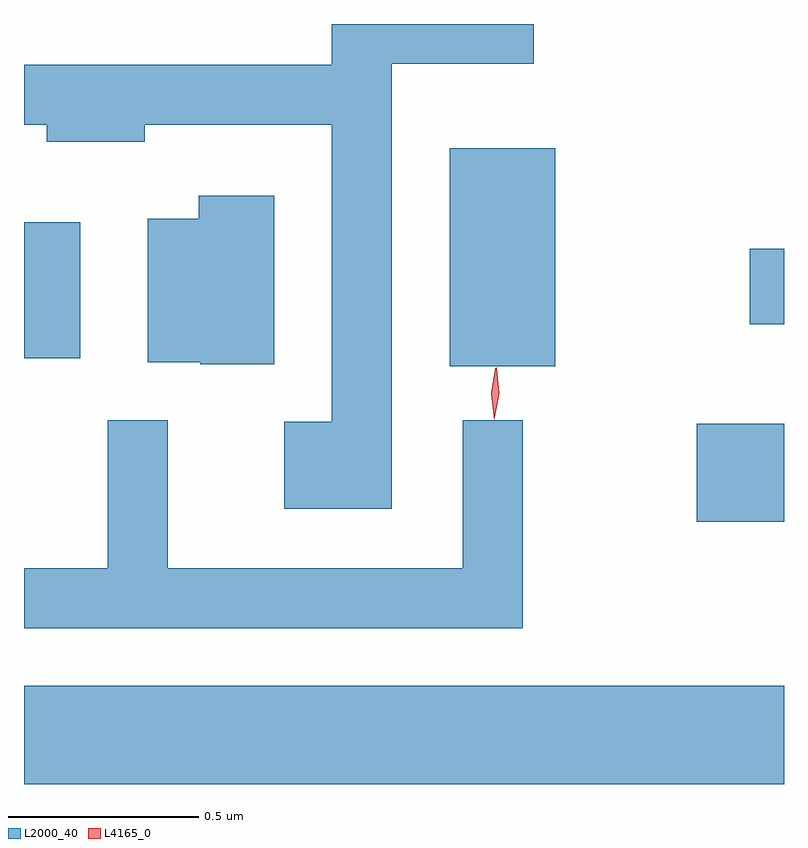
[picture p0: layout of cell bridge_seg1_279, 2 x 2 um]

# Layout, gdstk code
import gdstk
lib = gdstk.Library(unit=1e-6, precision=1e-09)
def R(c, l, rs):  # rectangles x0, y0, x1, y1
    for r in rs: c.add(gdstk.rectangle(r[:2], r[2:], *l))
def P(c, l, *ps):  # polygons
    for p in ps: c.add(gdstk.Polygon(p, *l))
L2000_40 = (2000, 40)
L4165_0 = (4165, 0)

bridge_seg1_279 = lib.new_cell('bridge_seg1_279')
R(bridge_seg1_279, L2000_40, [(900.816,897.366,902.816,897.624), (902.586,898.056,902.816,898.314), (901.936,898.466,902.214,899.039), (900.816,898.486,900.964,898.844), (902.726,898.576,902.816,898.774)])
P(bridge_seg1_279, L2000_40, [(901.784,899.261),(902.158,899.261),(902.158,899.366),(901.626,899.366),(901.626,899.259),(900.816,899.259),(900.816,899.101),(900.876,899.101),(900.876,899.056),(901.134,899.056),(901.134,899.101),(901.626,899.101),(901.626,898.319),(901.501,898.319),(901.501,898.091),(901.784,898.091)],
  [(901.474,898.914),(901.276,898.914),(901.276,898.854),(901.141,898.854),(901.141,898.476),(901.28,898.476),(901.28,898.471),(901.474,898.471)],
  [(902.129,898.323),(901.971,898.323),(901.971,897.934),(901.194,897.934),(901.194,898.323),(901.036,898.323),(901.036,897.934),(900.816,897.934),(900.816,897.776),(902.129,897.776)])
P(bridge_seg1_279, L4165_0, [(902.053,898.328),(902.045,898.394),(902.056,898.459),(902.056,898.46),(902.057,898.459),(902.065,898.393),(902.054,898.328),(902.054,898.328)],
  [(902.054,898.324),(902.053,898.325),(902.046,898.393),(902.058,898.461),(902.059,898.462),(902.06,898.461),(902.066,898.393),(902.054,898.325)])

lib.write_gds('bridge_seg1_279.gds')
